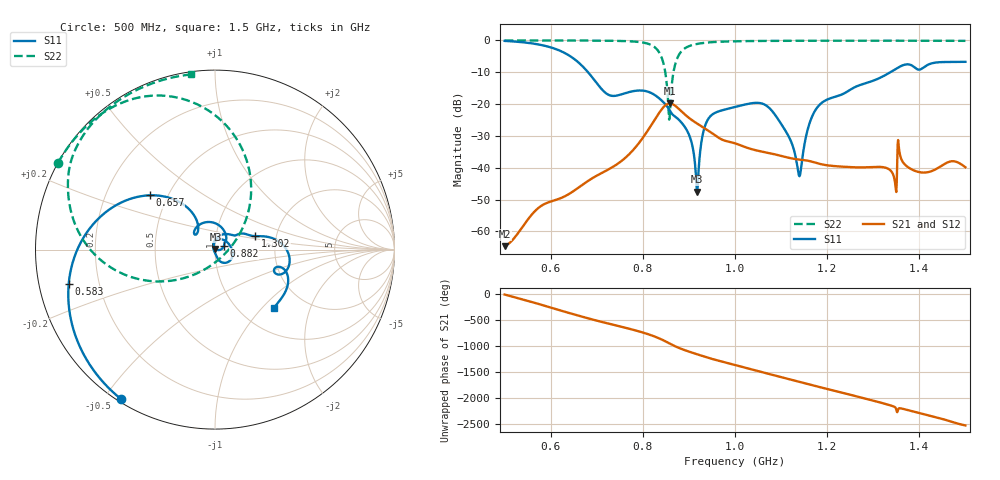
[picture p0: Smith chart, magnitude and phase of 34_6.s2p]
! TOUCHSTONE file generated by CST MICROWAVE STUDIO
! Date and time: Sat Oct 24 11:48:57 2020
! Project name: Scenario_1_Circular_Tissue_out_of_Line.cst
! Parameters = {dy1=226.253; L_HA=400; MT=2.54; Rad_Dielectric=30; Rad_Lower=7.3; Rad_Upper=30; a_HA=580; a_WG=246; b_HA=500; b_WG=121; c_HA=0; c_WG=187; d_feed=85; dx1=1039; h_feed=15; h_lower=18; h_upper=40}
! Header version: 2018
! Port assignment regex: !\s*Touchstone port\s*([0-9]+)\s*=\s*(CST MWS port|CST DS port)\s*([0-9]+|Zmin|Zmax)\s*\(\"(.*)\"\)(\s*mode\s*([0-9]+))?.*
! Touchstone port assignment:
! Touchstone port 1 = CST MWS port 1 ("")
! Touchstone port 2 = CST MWS port 2 ("")
# GHz S DB R 50
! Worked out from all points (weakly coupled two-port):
!   1001 points, 500 MHz to 1.5 GHz, reference 50 ohm
!   highest |S21| = -19.79 dB at 858 MHz (marker M1); lowest = -64.6 dB at 500 MHz (marker M2)
!   lowest |S11| = -47.5 dB at 918 MHz (marker M3), VSWR 1.01, Z = 50.2 + j0.341 ohm
!   |S11| at or under -10 dB: 681.1 MHz to 1.337 GHz (655.7 MHz wide, 65 % of centre)
!   |S22| runs from -24.9 to 0.0 dB; largest |S21 - S12| = 8.5e-05
!   S11 on the Smith chart (normalised r, x): 500 MHz: 0.01, -0.55; 583 MHz: 0.09, -0.11; 657 MHz: 0.40, +0.31; 882 MHz: 1.10, +0.04; 1.302 GHz: 1.55, +0.25; 1.5 GHz: 1.42, -1.17
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0.5  -0.15 -122.3  -64.63 -8.2  -64.63 -8.2  -0.01 151.1
0.583  -1.54 -166.8  -51.66 145.5  -51.66 145.5  -0.02 145.4
0.657  -6.51 140.2  -46.58 -46.0  -46.58 -46.0  -0.04 139.3
0.667  -7.81 133.5  -45.54 -70.8  -45.54 -70.8  -0.04 138.3
0.725  -17.05 132.3  -40.55 154.0  -40.55 154.0  -0.10 131.5
0.779  -15.93 133.1  -34.42 34.3  -34.42 34.3  -0.33 120.5
0.834  -18.02 71.3  -23.06 -125.5  -23.06 -125.5  -3.44 82.9
0.858  -21.86 40.3  -19.79 130.6  -19.79 130.6  -24.49 -70.5
0.882  -25.50 21.8  -22.04 32.4  -22.04 32.4  -3.72 -175.9
0.903  -30.72 -2.4  -24.65 -34.3  -24.65 -34.3  -1.64 165.5
0.918  -47.51 53.7  -26.13 -77.6  -26.13 -77.6  -1.10 158.3
0.941  -24.88 74.6  -28.23 -141.5  -28.23 -141.5  -0.65 151.0
1  -20.90 7.7  -32.31 77.3  -32.31 77.3  -0.27 140.1
1.076  -21.45 -59.2  -35.45 -100.0  -35.45 -100.0  -0.14 131.8
1.139  -42.48 -150.3  -37.42 115.5  -37.42 115.5  -0.10 126.3
1.167  -24.01 84.1  -38.09 50.1  -38.09 50.1  -0.10 124.1
1.302  -12.53 18.5  -39.73 107.2  -39.73 107.2  -0.08 113.8
1.334  -10.25 13.1  -40.45 29.1  -40.45 29.1  -0.09 111.4
1.346  -9.19 8.8  -43.51 -6.9  -43.51 -6.9  -0.09 110.5
1.358  -8.21 2.2  -35.87 -34.9  -35.87 -34.9  -0.09 109.5
1.399  -9.18 -18.7  -41.34 -123.2  -41.34 -123.2  -0.10 106.3
1.5  -6.72 -44.4  -39.84 -5.8  -39.84 -5.8  -0.13 97.8
